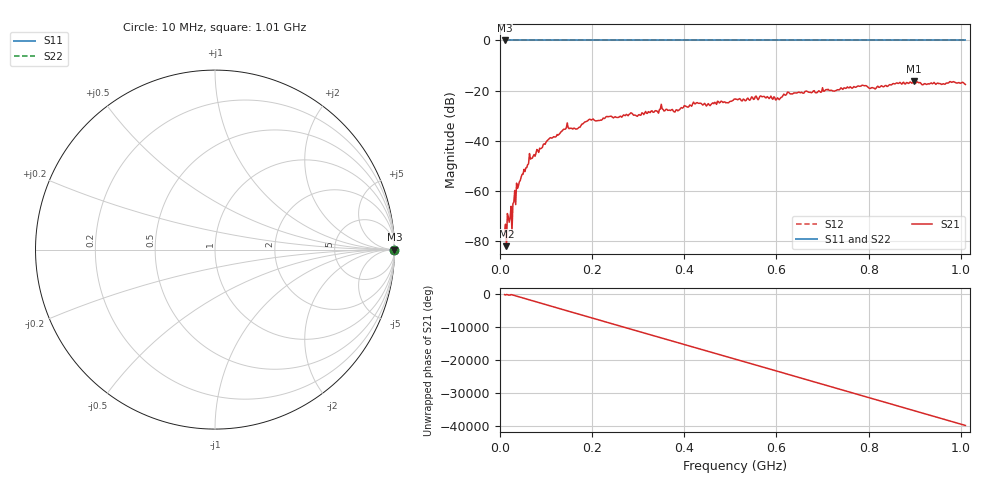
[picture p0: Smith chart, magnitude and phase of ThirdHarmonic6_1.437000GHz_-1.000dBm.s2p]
! 8/16/2025 4:36:10 PM
! C:\ANRITSUVNA\TEMP\TEMP.S2P
! CHANNEL.1
! TR.MEASUREMENT
! RAW.DATA
! RF.CORRECTION.OFF
! AVERAGING.OFF
! IF.BANDWIDTH: 5KHZ
! SWEEPTYPE:  FREQ.SWEEP(Linear)
! Reference Plane Port Info
! PORT:  PORT1  PORT2
! DISTANCE:  0  m  0  m
! TIME:  0  s  0  s
! PHASE.OFFSET:  0  deg.  0  deg.
! LOSS:  0  dB  0  dB
! REF.LOSS:  0  dB  0  dB
! REF.FREQ:  0  Hz  0  Hz
! Power Info
! POWER:  -20  dBm  -20  dBm
! EFF.POWER:  -20  dBm  -20  dBm
! SOURCE.ATTEN:  0  dB  0  dB
! TEST.ATTEN:  0  dB  0  dB
# GHZ S RI R 50.0
! FREQ.GHZ  S11RE  S11IM  S21RE  S21IM  S12RE  S12IM  S22RE  S22IM
!; PortSelection: Port_12
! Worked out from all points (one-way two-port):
!   501 points, 10 MHz to 1.01 GHz, reference 50 ohm
!   highest |S21| = -16.19 dB at 898 MHz (marker M1); lowest = -82.1 dB at 14 MHz (marker M2)
!   lowest |S11| = 0.0 dB at 10 MHz (marker M3)
!   |S11| at or under -10 dB: nowhere
!   |S22| runs from 0.0 to 0.0 dB; largest |S21 - S12| = 1.1
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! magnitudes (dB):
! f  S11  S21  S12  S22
! 10 MHz  0.0  -76.4  0.0  0.0
! 14 MHz  0.0  -82.1  0.0  0.0
! 18 MHz  0.0  -70.5  0.0  0.0
! 20 MHz  0.0  -72.5  0.0  0.0
! 22 MHz  0.0  -70.5  0.0  0.0
! 24 MHz  0.0  -66.2  0.0  0.0
! 30 MHz  0.0  -64.4  0.0  0.0
! 32 MHz  0.0  -59.8  0.0  0.0
! 40 MHz  0.0  -58.0  0.0  0.0
! 68 MHz  0.0  -47.0  0.0  0.0
! 142 MHz  0.0  -35.4  0.0  0.0
! 166 MHz  0.0  -35.3  0.0  0.0
! 178 MHz  0.0  -33.4  0.0  0.0
! 198 MHz  0.0  -31.8  0.0  0.0
! 344 MHz  0.0  -29.0  0.0  0.0
! 510 MHz  0.0  -23.3  0.0  0.0
! 602 MHz  0.0  -22.9  0.0  0.0
! 626 MHz  0.0  -20.6  0.0  0.0
! 678 MHz  0.0  -20.6  0.0  0.0
! 844 MHz  0.0  -17.8  0.0  0.0
! 898 MHz  0.0  -16.2  0.0  0.0
! 1.01 GHz  0.0  -17.5  0.0  0.0
